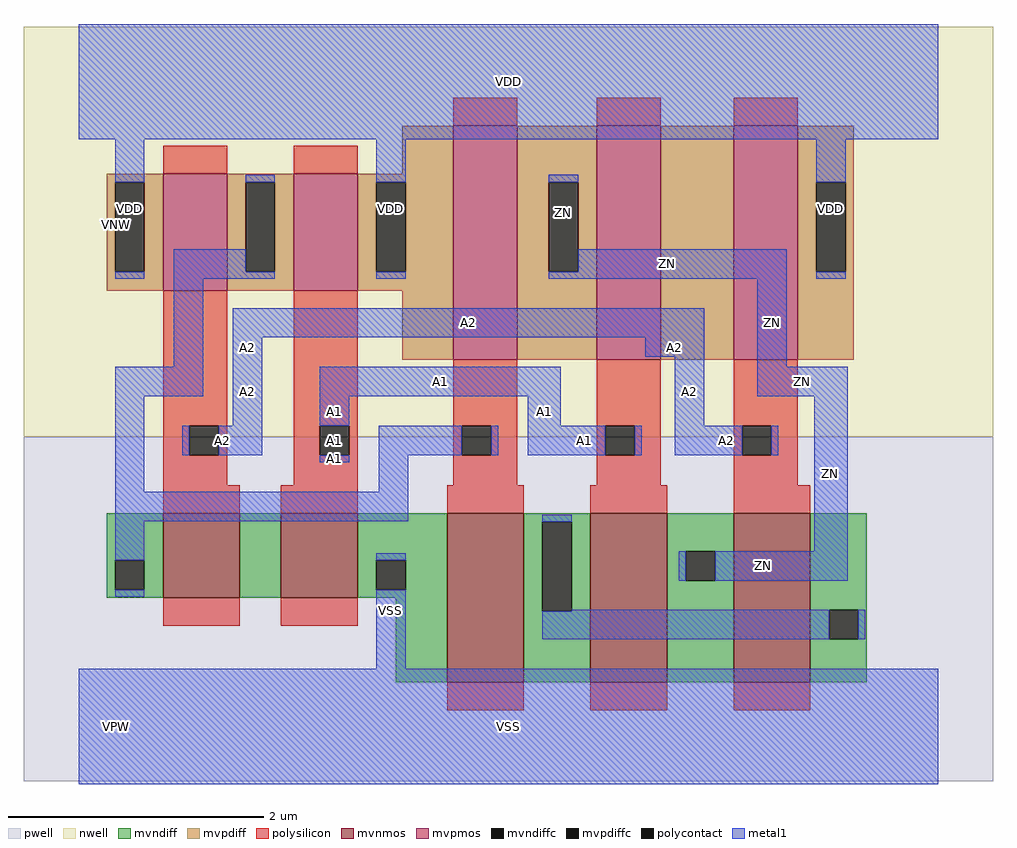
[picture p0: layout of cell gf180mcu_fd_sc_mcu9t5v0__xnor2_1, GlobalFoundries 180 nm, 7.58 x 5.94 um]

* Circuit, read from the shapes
.subckt gf180mcu_fd_sc_mcu9t5v0__xnor2_1 A1 A2 ZN VDD VNW VPW VSS
XM1 n1 A2 n2 VPW nfet_06v0 w=0.66u l=0.6u
XM2 VSS A1 n1 VPW nfet_06v0 w=0.66u l=0.6u
XM3 n3 n2 VSS VPW nfet_06v0 w=1.32u l=0.6u
XM4 ZN A1 n3 VPW nfet_06v0 w=1.32u l=0.6u
XM5 n3 A2 ZN VPW nfet_06v0 w=1.32u l=0.6u
XM6 n2 A2 VDD VNW pfet_06v0 w=0.915u l=0.5u
XM7 VDD A1 n2 VNW pfet_06v0 w=0.915u l=0.5u
XM8 ZN n2 VDD VNW pfet_06v0 w=1.83u l=0.5u
XM9 n4 A1 ZN VNW pfet_06v0 w=1.83u l=0.5u
XM10 VDD A2 n4 VNW pfet_06v0 w=1.83u l=0.5u
.ends

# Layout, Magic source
magic
tech gf180mcuD
magscale 1 10
<< nwell >>
rect -86 453 1430 1094
<< pwell >>
rect -86 -86 1430 453
<< mvnmos >>
rect 132 201 252 333
rect 316 201 436 333
rect 576 69 696 333
rect 800 69 920 333
rect 1024 69 1144 333
<< mvpmos >>
rect 132 681 232 864
rect 336 681 436 864
rect 586 573 686 939
rect 810 573 910 939
rect 1024 573 1124 939
<< mvndiff >>
rect 44 260 132 333
rect 44 214 57 260
rect 103 214 132 260
rect 44 201 132 214
rect 252 201 316 333
rect 436 260 576 333
rect 436 214 465 260
rect 511 214 576 260
rect 436 201 576 214
rect 496 69 576 201
rect 696 320 800 333
rect 696 180 725 320
rect 771 180 800 320
rect 696 69 800 180
rect 920 274 1024 333
rect 920 228 949 274
rect 995 228 1024 274
rect 920 69 1024 228
rect 1144 182 1232 333
rect 1144 136 1173 182
rect 1219 136 1232 182
rect 1144 69 1232 136
<< mvpdiff >>
rect 506 864 586 939
rect 44 851 132 864
rect 44 711 57 851
rect 103 711 132 851
rect 44 681 132 711
rect 232 851 336 864
rect 232 711 261 851
rect 307 711 336 851
rect 232 681 336 711
rect 436 851 586 864
rect 436 711 465 851
rect 511 711 586 851
rect 436 681 586 711
rect 506 573 586 681
rect 686 851 810 939
rect 686 711 735 851
rect 781 711 810 851
rect 686 573 810 711
rect 910 573 1024 939
rect 1124 851 1212 939
rect 1124 711 1153 851
rect 1199 711 1212 851
rect 1124 573 1212 711
<< mvndiffc >>
rect 57 214 103 260
rect 465 214 511 260
rect 725 180 771 320
rect 949 228 995 274
rect 1173 136 1219 182
<< mvpdiffc >>
rect 57 711 103 851
rect 261 711 307 851
rect 465 711 511 851
rect 735 711 781 851
rect 1153 711 1199 851
<< polysilicon >>
rect 586 939 686 983
rect 810 939 910 983
rect 1024 939 1124 983
rect 132 864 232 908
rect 336 864 436 908
rect 132 470 232 681
rect 132 424 173 470
rect 219 424 232 470
rect 132 377 232 424
rect 336 470 436 681
rect 336 424 377 470
rect 423 424 436 470
rect 336 377 436 424
rect 586 470 686 573
rect 586 424 599 470
rect 645 424 686 470
rect 586 377 686 424
rect 810 470 910 573
rect 810 424 823 470
rect 869 424 910 470
rect 810 377 910 424
rect 1024 470 1124 573
rect 1024 424 1037 470
rect 1083 424 1124 470
rect 1024 377 1124 424
rect 132 333 252 377
rect 316 333 436 377
rect 576 333 696 377
rect 800 333 920 377
rect 1024 333 1144 377
rect 132 157 252 201
rect 316 157 436 201
rect 576 25 696 69
rect 800 25 920 69
rect 1024 25 1144 69
<< polycontact >>
rect 173 424 219 470
rect 377 424 423 470
rect 599 424 645 470
rect 823 424 869 470
rect 1037 424 1083 470
<< metal1 >>
rect 0 918 1344 1098
rect 57 851 103 918
rect 261 851 307 862
rect 57 700 103 711
rect 149 711 261 746
rect 149 700 307 711
rect 465 851 511 918
rect 465 700 511 711
rect 735 851 781 862
rect 1153 851 1199 918
rect 781 711 1107 746
rect 735 700 1107 711
rect 1153 700 1199 711
rect 149 562 195 700
rect 57 516 195 562
rect 241 608 978 654
rect 57 367 103 516
rect 241 470 287 608
rect 886 578 978 608
rect 162 424 173 470
rect 219 424 287 470
rect 377 516 754 562
rect 377 470 423 516
rect 702 470 754 516
rect 932 470 978 578
rect 1061 562 1107 700
rect 1061 516 1202 562
rect 377 413 423 424
rect 469 424 599 470
rect 645 424 656 470
rect 702 424 823 470
rect 869 424 880 470
rect 932 424 1037 470
rect 1083 424 1094 470
rect 469 367 515 424
rect 57 321 515 367
rect 57 260 103 321
rect 725 320 771 331
rect 57 203 103 214
rect 465 260 511 271
rect 465 90 511 214
rect 1150 274 1202 516
rect 938 228 949 274
rect 995 228 1202 274
rect 771 180 1173 182
rect 725 136 1173 180
rect 1219 136 1230 182
rect 0 -90 1344 90
<< labels >>
flabel metal1 s 377 516 754 562 0 FreeSans 200 0 0 0 A1
port 1 nsew default input
flabel metal1 s 241 608 978 654 0 FreeSans 200 0 0 0 A2
port 2 nsew default input
flabel metal1 s 0 918 1344 1098 0 FreeSans 200 0 0 0 VDD
port 4 nsew power bidirectional abutment
flabel metal1 s 465 90 511 271 0 FreeSans 200 0 0 0 VSS
port 7 nsew ground bidirectional abutment
flabel metal1 s 735 746 781 862 0 FreeSans 200 0 0 0 ZN
port 3 nsew default output
flabel nwell s 10 734 110 834 0 FreeSans 400 0 0 0 VNW
port 5 nsew power bidirectional
flabel pwell s 10 -50 110 50 0 FreeSans 400 0 0 0 VPW
port 6 nsew ground bidirectional
rlabel metal1 s 702 470 754 516 1 A1
port 1 nsew default input
rlabel metal1 s 377 470 423 516 1 A1
port 1 nsew default input
rlabel metal1 s 702 424 880 470 1 A1
port 1 nsew default input
rlabel metal1 s 377 424 423 470 1 A1
port 1 nsew default input
rlabel metal1 s 377 413 423 424 1 A1
port 1 nsew default input
rlabel metal1 s 886 578 978 608 1 A2
port 2 nsew default input
rlabel metal1 s 241 578 287 608 1 A2
port 2 nsew default input
rlabel metal1 s 932 470 978 578 1 A2
port 2 nsew default input
rlabel metal1 s 241 470 287 578 1 A2
port 2 nsew default input
rlabel metal1 s 932 424 1094 470 1 A2
port 2 nsew default input
rlabel metal1 s 162 424 287 470 1 A2
port 2 nsew default input
rlabel metal1 s 735 700 1107 746 1 ZN
port 3 nsew default output
rlabel metal1 s 1061 562 1107 700 1 ZN
port 3 nsew default output
rlabel metal1 s 1061 516 1202 562 1 ZN
port 3 nsew default output
rlabel metal1 s 1150 274 1202 516 1 ZN
port 3 nsew default output
rlabel metal1 s 938 228 1202 274 1 ZN
port 3 nsew default output
rlabel metal1 s 1153 700 1199 918 1 VDD
port 4 nsew power bidirectional abutment
rlabel metal1 s 465 700 511 918 1 VDD
port 4 nsew power bidirectional abutment
rlabel metal1 s 57 700 103 918 1 VDD
port 4 nsew power bidirectional abutment
rlabel metal1 s 0 -90 1344 90 1 VSS
port 7 nsew ground bidirectional abutment
<< properties >>
string FIXED_BBOX 0 0 1344 1008
string GDS_END 449620
string GDS_FILE $PDKPATH/libs.ref/gf180mcu_fd_sc_mcu9t5v0/gds/gf180mcu_fd_sc_mcu9t5v0.gds
string GDS_START 445520
string LEFclass core
string LEFsite GF018hv5v_green_sc9
string LEFsymmetry X Y
<< end >>
